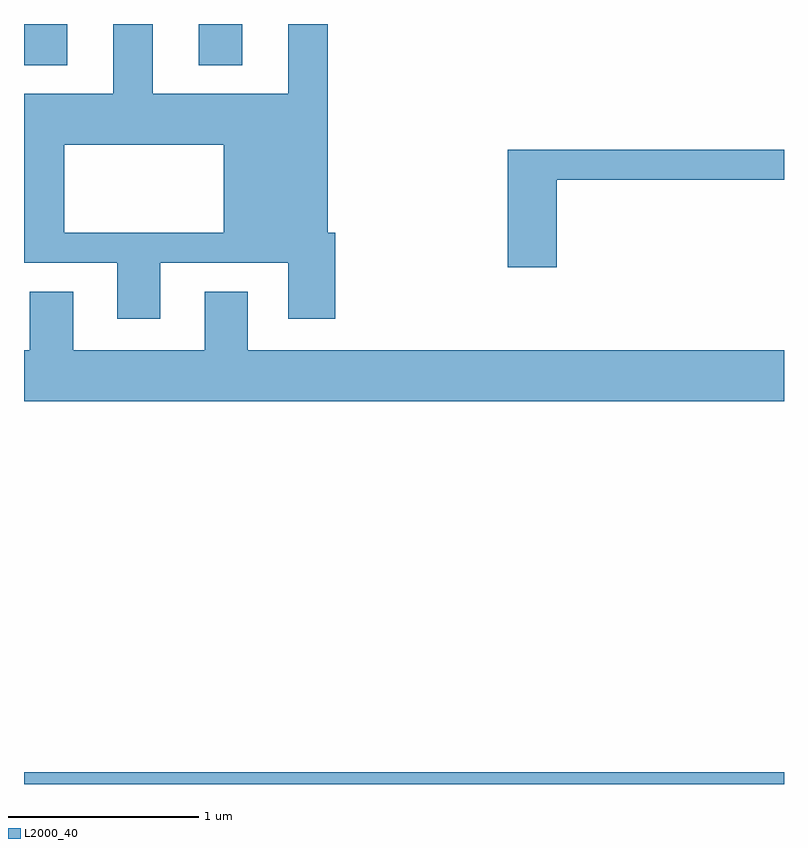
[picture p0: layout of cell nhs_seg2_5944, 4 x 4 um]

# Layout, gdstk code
import gdstk
lib = gdstk.Library(unit=1e-6, precision=1e-09)
def R(c, l, rs):  # rectangles x0, y0, x1, y1
    for r in rs: c.add(gdstk.rectangle(r[:2], r[2:], *l))
def P(c, l, *ps):  # polygons
    for p in ps: c.add(gdstk.Polygon(p, *l))
L2000_40 = (2000, 40)

nhs_seg2_5944 = lib.new_cell('nhs_seg2_5944')
R(nhs_seg2_5944, L2000_40, [(359.611,1101.802,363.611,1101.864), (359.611,1105.586,359.839,1105.802), (360.531,1105.586,360.759,1105.802)])
P(nhs_seg2_5944, L2000_40, [(360.101,1104.546),(360.101,1104.251),(360.329,1104.251),(360.329,1104.546),(361.001,1104.546),(361.001,1104.251),(361.249,1104.251),(361.249,1104.704),(361.209,1104.704),(361.209,1105.802),(361.001,1105.802),(361.001,1105.434),(360.289,1105.434),(360.289,1105.802),(360.081,1105.802),(360.081,1105.434),(359.611,1105.434),(359.611,1104.704),(359.824,1104.704),(359.824,1105.166),(360.661,1105.166),(360.661,1104.704),(359.824,1104.704),(359.611,1104.704),(359.611,1104.546)],
  [(362.414,1104.981),(363.611,1104.981),(363.611,1105.139),(362.156,1105.139),(362.156,1104.521),(362.414,1104.521)],
  [(363.611,1104.084),(360.789,1104.084),(360.789,1104.394),(360.561,1104.394),(360.561,1104.084),(359.869,1104.084),(359.869,1104.394),(359.641,1104.394),(359.641,1104.084),(359.611,1104.084),(359.611,1103.816),(363.611,1103.816)])

lib.write_gds('nhs_seg2_5944.gds')
